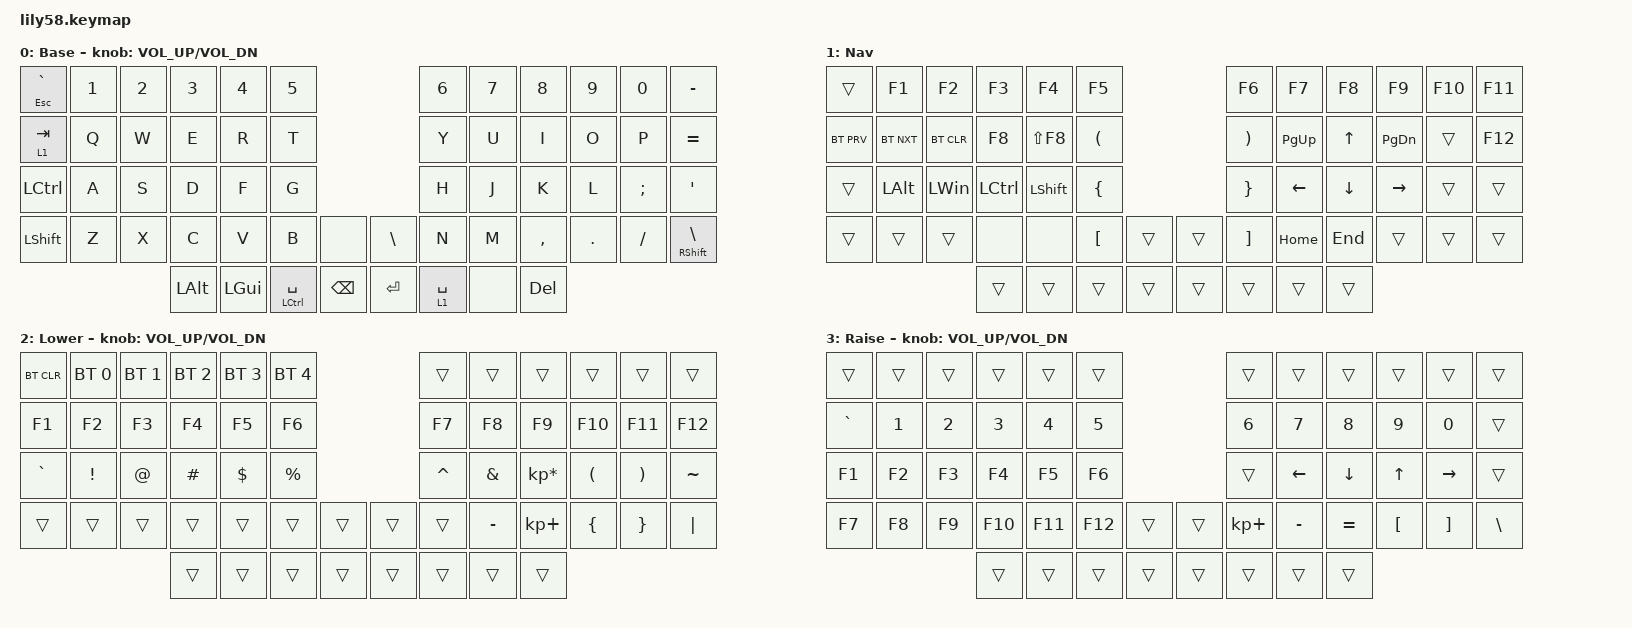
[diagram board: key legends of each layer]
/*
 * Copyright (c) 2020 The ZMK Contributors
 *
 * SPDX-License-Identifier: MIT
 */

#include <behaviors.dtsi>
#include <dt-bindings/zmk/bt.h>
#include <dt-bindings/zmk/keys.h>

/ {
    keymap {
        compatible = "zmk,keymap";

        default_layer {
            // ------------------------------------------------------------------------------------------------------------
            // |  ESC  |  1  |  2  |  3   |  4   |  5   |                   |  6   |  7    |  8    |  9   |   0   |   `   |
            // |  TAB  |  Q  |  W  |  E   |  R   |  T   |                   |  Y   |  U    |  I    |  O   |   P   |   -   |
            // |  CTRL |  A  |  S  |  D   |  F   |  G   |                   |  H   |  J    |  K    |  L   |   ;   |   '   |
            // | SHIFT |  Z  |  X  |  C   |  V   |  B   |   "["  |  |  "]"  |  N   |  M    |  ,    |  .   |   /   | SHIFT |
            //                     | ALT  | GUI  | LOWER|  SPACE |  | ENTER | RAISE| BSPC  | GUI   |

            display-name = "Base";
            bindings = <
&mt ESCAPE GRAVE  &kp N1  &kp N2  &kp N3    &kp N4    &kp N5                                           &kp N6       &kp N7  &kp N8      &kp N9   &kp N0    &kp MINUS
&lt 1 TAB         &kp Q   &kp W   &kp E     &kp R     &kp T                                            &kp Y        &kp U   &kp I       &kp O    &kp P     &kp EQUAL
&kp LCTRL         &kp A   &kp S   &kp D     &kp F     &kp G                                            &kp H        &kp J   &kp K       &kp L    &kp SEMI  &kp SQT
&kp LSHFT         &kp Z   &kp X   &kp C     &kp V     &kp B            &none            &kp BACKSLASH  &kp N        &kp M   &kp COMMA   &kp DOT  &kp FSLH  &mt RIGHT_SHIFT BACKSLASH
                                  &kp LALT  &kp LGUI  &mt LCTRL SPACE  &kp BACKSPACE    &kp ENTER      &lt 1 SPACE  &none   &kp DELETE
            >;

            sensor-bindings = <&inc_dec_kp C_VOL_UP C_VOL_DN>;
        };

        Nav {
            bindings = <
&trans      &kp F1        &kp F2        &kp F3            &kp F4          &kp F5                                  &kp F6                 &kp F7       &kp F8        &kp F9         &kp F10  &kp F11
&bt BT_PRV  &bt BT_NXT    &bt BT_CLR    &kp F8            &kp LS(F8)      &kp LEFT_PARENTHESIS                    &kp RIGHT_PARENTHESIS  &kp PAGE_UP  &kp UP_ARROW  &kp PAGE_DOWN  &trans   &kp F12
&trans      &kp LEFT_ALT  &kp LEFT_WIN  &kp LEFT_CONTROL  &kp LEFT_SHIFT  &kp LEFT_BRACE                          &kp RIGHT_BRACE        &kp LEFT     &kp DOWN      &kp RIGHT      &trans   &trans
&trans      &trans        &trans        &none             &none           &kp LEFT_BRACKET      &trans    &trans  &kp RIGHT_BRACKET      &kp HOME     &kp END       &trans         &trans   &trans
                                        &trans            &trans          &trans                &trans    &trans  &trans                 &trans       &trans
            >;
        };

        lower_layer {
            // ------------------------------------------------------------------------------------------------------------
            // | BTCLR | BT1 | BT2 |  BT3 |  BT4 |  BT5 |                   |      |       |       |      |       |       |
            // |  F1   |  F2 |  F3 |  F4  |  F5  |  F6  |                   |  F7  |  F8   |  F9   |  F10 |  F11  |  F12  |
            // |   `   |  !  |  @  |  #   |  $   |  %   |                   |  ^   |  &    |  *    |  (   |   )   |   ~   |
            // |       |     |     |      |      |      |        |  |       |      |  _    |  +    |  {   |   }   |  "|"  |
            //                     |      |      |      |        |  |       |      |       |       |

            display-name = "Lower";
            bindings = <
&bt BT_CLR  &bt BT_SEL 0  &bt BT_SEL 1  &bt BT_SEL 2  &bt BT_SEL 3  &bt BT_SEL 4                    &trans     &trans     &trans           &trans    &trans    &trans
&kp F1      &kp F2        &kp F3        &kp F4        &kp F5        &kp F6                          &kp F7     &kp F8     &kp F9           &kp F10   &kp F11   &kp F12
&kp GRAVE   &kp EXCL      &kp AT        &kp HASH      &kp DOLLAR    &kp PRCNT                       &kp CARET  &kp AMPS   &kp KP_MULTIPLY  &kp LPAR  &kp RPAR  &kp TILDE
&trans      &trans        &trans        &trans        &trans        &trans        &trans    &trans  &trans     &kp MINUS  &kp KP_PLUS      &kp LBRC  &kp RBRC  &kp PIPE
                                        &trans        &trans        &trans        &trans    &trans  &trans     &trans     &trans
            >;

            sensor-bindings = <&inc_dec_kp C_VOL_UP C_VOL_DN>;
        };

        raise_layer {
            // ------------------------------------------------------------------------------------------------------------
            // |       |     |     |      |      |      |                   |      |       |       |      |       |       |
            // |   `   |  1  |  2  |  3   |  4   |  5   |                   |  6   |   7   |   8   |  9   |   0   |       |
            // |   F1  |  F2 |  F3 |  F4  |  F5  |  F6  |                   |      |   <-  |   v   |  ^   |  ->   |       |
            // |   F7  |  F8 |  F9 |  F10 |  F11 |  F12 |        |  |       |  +   |   -   |   =   |  [   |   ]   |   \   |
            //                     |      |      |      |        |  |       |      |       |       |

            display-name = "Raise";
            bindings = <
&trans     &trans  &trans  &trans   &trans   &trans                     &trans       &trans     &trans     &trans    &trans     &trans
&kp GRAVE  &kp N1  &kp N2  &kp N3   &kp N4   &kp N5                     &kp N6       &kp N7     &kp N8     &kp N9    &kp N0     &trans
&kp F1     &kp F2  &kp F3  &kp F4   &kp F5   &kp F6                     &trans       &kp LEFT   &kp DOWN   &kp UP    &kp RIGHT  &trans
&kp F7     &kp F8  &kp F9  &kp F10  &kp F11  &kp F12  &trans    &trans  &kp KP_PLUS  &kp MINUS  &kp EQUAL  &kp LBKT  &kp RBKT   &kp BSLH
                           &trans   &trans   &trans   &trans    &trans  &trans       &trans     &trans
            >;

            sensor-bindings = <&inc_dec_kp C_VOL_UP C_VOL_DN>;
        };
    };
};
